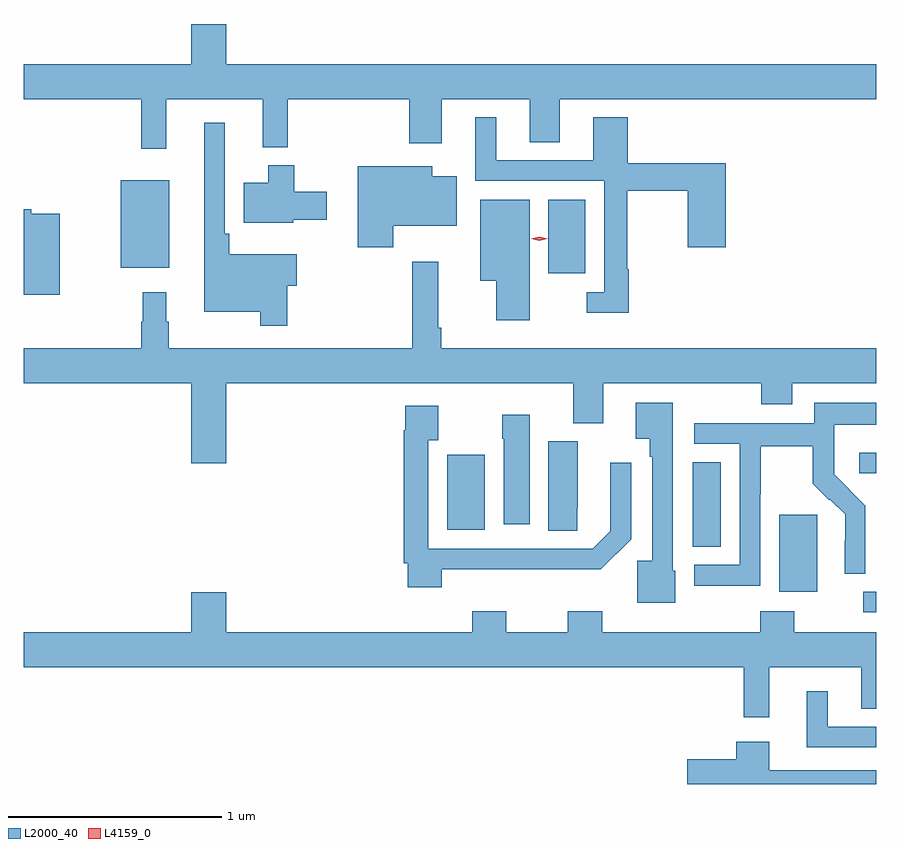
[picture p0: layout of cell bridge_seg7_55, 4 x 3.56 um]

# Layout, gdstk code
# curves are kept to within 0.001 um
import gdstk
lib = gdstk.Library(unit=1e-6, precision=1e-09)
def R(c, l, rs):  # rectangles x0, y0, x1, y1
    for r in rs: c.add(gdstk.rectangle(r[:2], r[2:], *l))
def P(c, l, *ps):  # polygons
    for p in ps: c.add(gdstk.Polygon(p, *l))
L2000_40 = (2000, 40)
L4159_0 = (4159, 0)

bridge_seg7_55 = lib.new_cell('bridge_seg7_55')
R(bridge_seg7_55, L2000_40, [(923.403,1014.195,923.465,1014.291), (923.009,1014.29,923.188,1014.651), (922.604,1014.502,922.735,1014.899), (923.385,1014.846,923.465,1014.943), (921.926,1015.784,922.099,1016.128), (919.922,1015.811,920.149,1016.221)])
P(bridge_seg7_55, L2000_40, [(920.416,1016.953),(920.252,1016.953),(920.252,1016.764),(919.465,1016.764),(919.465,1016.6),(920.017,1016.6),(920.017,1016.367),(920.135,1016.367),(920.135,1016.6),(920.588,1016.6),(920.588,1016.375),(920.705,1016.375),(920.705,1016.6),(921.275,1016.6),(921.275,1016.394),(921.427,1016.394),(921.427,1016.6),(921.839,1016.6),(921.839,1016.398),(921.979,1016.398),(921.979,1016.6),(923.465,1016.6),(923.465,1016.764),(920.416,1016.764)],
  [(922.304,1015.802),(922.297,1015.802),(922.297,1016.17),(922.579,1016.17),(922.579,1015.905),(922.757,1015.905),(922.757,1016.299),(922.298,1016.299),(922.298,1016.515),(922.136,1016.515),(922.136,1016.313),(921.682,1016.313),(921.682,1016.515),(921.584,1016.515),(921.584,1016.217),(922.188,1016.217),(922.188,1015.695),(922.107,1015.695),(922.107,1015.598),(922.304,1015.598)],
  [(920.702,1015.726),(920.746,1015.726),(920.746,1015.873),(920.429,1015.873),(920.429,1015.969),(920.409,1015.969),(920.409,1016.491),(920.312,1016.491),(920.312,1015.604),(920.574,1015.604),(920.574,1015.539),(920.702,1015.539)],
  [(920.73,1016.036),(920.887,1016.036),(920.887,1016.166),(920.734,1016.166),(920.734,1016.29),(920.612,1016.29),(920.612,1016.209),(920.498,1016.209),(920.498,1016.021),(920.73,1016.021)],
  [(921.198,1016.006),(921.496,1016.006),(921.496,1016.239),(921.382,1016.239),(921.382,1016.287),(921.032,1016.287),(921.032,1015.905),(921.198,1015.905)],
  [(921.838,1016.128),(921.608,1016.128),(921.608,1015.748),(921.683,1015.748),(921.683,1015.563),(921.838,1015.563)],
  [(919.636,1016.064),(919.502,1016.064),(919.502,1016.084),(919.465,1016.084),(919.465,1015.948),(919.466,1015.948),(919.466,1015.683),(919.636,1015.683)],
  [(920.416,1015.268),(922.043,1015.268),(922.043,1015.081),(922.183,1015.081),(922.183,1015.268),(922.924,1015.268),(922.924,1015.169),(923.071,1015.169),(923.071,1015.268),(923.465,1015.268),(923.465,1015.432),(921.425,1015.432),(921.425,1015.528),(921.41,1015.528),(921.41,1015.837),(921.289,1015.837),(921.289,1015.432),(920.146,1015.432),(920.146,1015.556),(920.134,1015.556),(920.134,1015.696),(920.025,1015.696),(920.025,1015.556),(920.017,1015.556),(920.017,1015.432),(919.465,1015.432),(919.465,1015.268),(920.252,1015.268),(920.252,1014.894),(920.416,1014.894)],
  [(922.522,1014.39),(922.509,1014.39),(922.509,1015.177),(922.335,1015.177),(922.335,1015.007),(922.401,1015.007),(922.401,1014.923),(922.413,1014.923),(922.413,1014.435),(922.344,1014.435),(922.344,1014.239),(922.522,1014.239)],
  [(922.92,1014.748),(922.923,1014.748),(922.923,1014.972),(923.167,1014.972),(923.167,1014.797),(923.244,1014.72),(923.247,1014.723),(923.318,1014.653),(923.318,1014.53),(923.316,1014.53),(923.316,1014.376),(923.412,1014.376),(923.412,1014.694),(923.266,1014.842),(923.266,1014.939),(923.268,1014.939),(923.268,1015.073),(923.465,1015.073),(923.465,1015.177),(923.172,1015.177),(923.172,1015.08),(922.611,1015.08),(922.611,1014.984),(922.824,1014.984),(922.824,1014.417),(922.611,1014.417),(922.611,1014.319),(922.92,1014.319)],
  [(921.427,1014.395),(922.173,1014.395),(922.314,1014.536),(922.314,1014.895),(922.217,1014.895),(922.217,1014.575),(922.134,1014.492),(921.363,1014.492),(921.363,1015.002),(921.409,1015.002),(921.409,1015.162),(921.255,1015.162),(921.255,1015.049),(921.247,1015.049),(921.247,1014.424),(921.266,1014.424),(921.266,1014.312),(921.427,1014.312)],
  [(921.838,1015.12),(921.709,1015.12),(921.709,1015.007),(921.716,1015.007),(921.716,1014.606),(921.838,1014.606)],
  [(922.062,1014.685),(922.063,1014.685),(922.063,1014.996),(921.926,1014.996),(921.926,1014.577),(922.062,1014.577)],
  [(921.628,1014.933),(921.453,1014.933),(921.453,1014.83),(921.452,1014.83),(921.452,1014.581),(921.628,1014.581)],
  [(922.961,1013.936),(923.393,1013.936),(923.393,1013.743),(923.465,1013.743),(923.465,1014.1),(923.079,1014.1),(923.079,1014.199),(922.919,1014.199),(922.919,1014.1),(922.178,1014.1),(922.178,1014.199),(922.018,1014.199),(922.018,1014.1),(921.729,1014.1),(921.729,1014.199),(921.569,1014.199),(921.569,1014.1),(920.416,1014.1),(920.416,1014.289),(920.252,1014.289),(920.252,1014.1),(919.465,1014.1),(919.465,1013.936),(922.843,1013.936),(922.843,1013.703),(922.961,1013.703)],
  [(923.465,1013.658),(923.236,1013.658),(923.236,1013.824),(923.138,1013.824),(923.138,1013.562),(923.465,1013.562)],
  [(923.465,1013.454),(922.963,1013.454),(922.963,1013.587),(922.808,1013.587),(922.808,1013.505),(922.578,1013.505),(922.578,1013.389),(923.465,1013.389)])
P(bridge_seg7_55, L4159_0, [(921.883,1015.936),(921.845,1015.946),(921.845,1015.946),(921.845,1015.946),(921.883,1015.956),(921.921,1015.946),(921.921,1015.946),(921.921,1015.946)])

lib.write_gds('bridge_seg7_55.gds')
